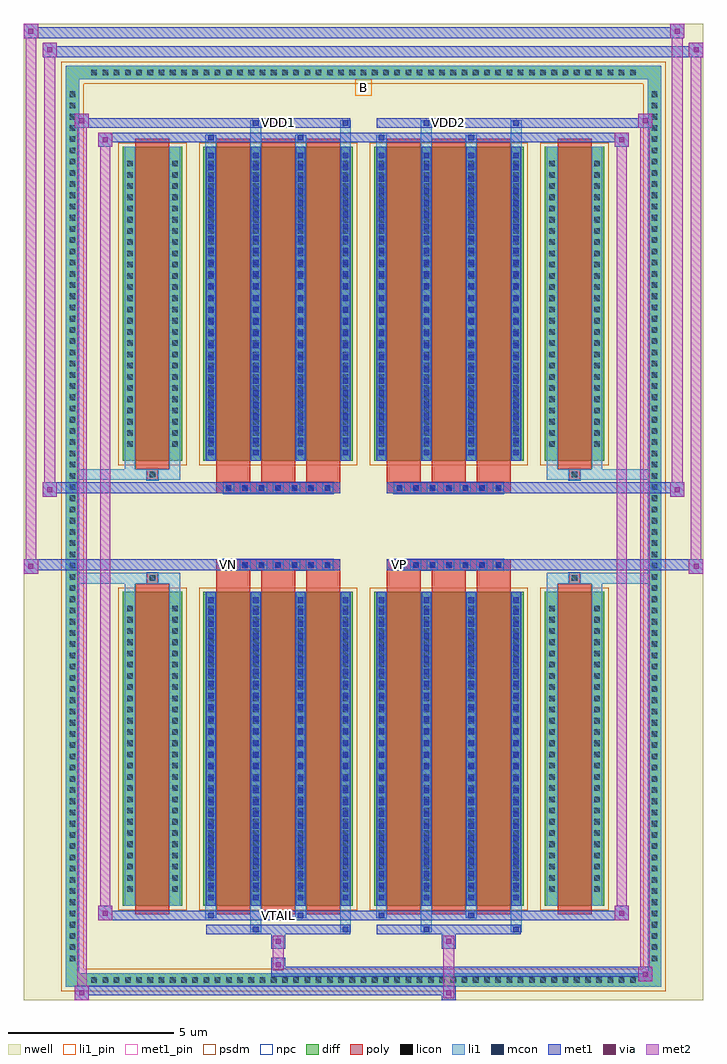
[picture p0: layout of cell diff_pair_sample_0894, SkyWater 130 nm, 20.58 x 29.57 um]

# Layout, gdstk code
import gdstk
lib = gdstk.Library(unit=1e-6, precision=5e-09)
def R(c, l, rs):  # rectangles x0, y0, x1, y1
    for r in rs: c.add(gdstk.rectangle(r[:2], r[2:], *l))
def A(c, l, x, y, w, h, nx, ny, dx, dy):  # array of equal rectangles
    R(c, l, [(x+i*dx, y+j*dy, x+i*dx+w, y+j*dy+h) for i in range(nx) for j in range(ny)])
def P(c, l, *ps):  # polygons
    for p in ps: c.add(gdstk.Polygon(p, *l))
nwell = (64, 20)
diff = (65, 20)
poly = (66, 20)
licon = (66, 44)
li1_pin = (67, 16)
li1 = (67, 20)
mcon = (67, 44)
met1_pin = (68, 16)
met1 = (68, 20)
via = (68, 44)
met2 = (69, 20)
psdm = (94, 20)
npc = (95, 20)

diff_pair_sample_0894 = lib.new_cell('diff_pair_sample_0894')
R(diff_pair_sample_0894, nwell, [(-10.29,-14.35,10.29,15.22), (-7.61,-12.54,-0.01,-0.8), (0.01,-12.54,7.61,-0.8), (-7.61,0.8,-0.01,12.54), (0.01,0.8,7.61,12.54)])
A(diff_pair_sample_0894, diff, -8.365, -13.95, 0.41, 0.41, 49, 2, 0.34, 27.49)
A(diff_pair_sample_0894, diff, -9.02, -13.295, 0.41, 0.41, 1, 78, 0, 0.34)
A(diff_pair_sample_0894, diff, 8.61, -13.295, 0.41, 0.41, 1, 78, 0, 0.34)
R(diff_pair_sample_0894, diff, [(-8.365,-13.95,8.365,-13.54), (-9.02,-13.295,-8.61,13.295), (8.61,-13.295,9.02,13.295), (-7.3,-11.495,-5.49,-1.985), (-4.85,-11.495,-0.32,-1.985), (0.32,-11.495,4.85,-1.985), (5.49,-11.495,7.3,-1.985), (-7.3,1.985,-5.49,11.495), (-4.85,1.985,-0.32,11.495), (0.32,1.985,4.85,11.495), (5.49,1.985,7.3,11.495), (-8.365,13.54,8.365,13.95)])
P(diff_pair_sample_0894, diff, [(9.02,13.95),(-9.02,13.95),(-9.02,-13.54),(-8.61,-13.54),(-8.61,13.54),(8.61,13.54),(8.61,-13.54),(-8.61,-13.54),(-9.02,-13.54),(-9.02,-13.95),(9.02,-13.95)])
A(diff_pair_sample_0894, poly, -4.46, -11.745, 1.03, 10.01, 3, 2, 1.36, 13.48)
A(diff_pair_sample_0894, poly, 0.71, -11.745, 1.03, 10.01, 3, 2, 1.36, 13.48)
A(diff_pair_sample_0894, poly, -4.46, -1.735, 1.03, 0.405, 3, 2, 1.36, 3.065)
A(diff_pair_sample_0894, poly, 0.71, -1.735, 1.03, 0.405, 3, 2, 1.36, 3.065)
A(diff_pair_sample_0894, poly, -4.25, -1.33, 0.33, 0.33, 7, 2, 0.5, 2.33)
A(diff_pair_sample_0894, poly, 0.92, -1.33, 0.33, 0.33, 7, 2, 0.5, 2.33)
R(diff_pair_sample_0894, poly, [(-6.91,-11.745,-5.88,-1.735), (5.88,-11.745,6.91,-1.735), (-6.56,-1.735,-6.23,-1.405), (-6.56,-1.735,-6.23,-1.405), (6.23,-1.735,6.56,-1.405), (6.23,-1.735,6.56,-1.405), (-4.46,-1.33,-0.71,-1), (0.71,-1.33,4.46,-1), (-4.46,1,-0.71,1.33), (0.71,1,4.46,1.33), (-6.56,1.405,-6.23,1.735), (-6.56,1.405,-6.23,1.735), (6.23,1.405,6.56,1.735), (6.23,1.405,6.56,1.735), (-6.91,1.735,-5.88,11.745), (5.88,1.735,6.91,11.745)])
A(diff_pair_sample_0894, licon, -8.245, -13.83, 0.17, 0.17, 49, 2, 0.34, 27.49)
A(diff_pair_sample_0894, licon, -8.9, -13.175, 0.17, 0.17, 1, 78, 0, 0.34)
A(diff_pair_sample_0894, licon, 8.73, -13.175, 0.17, 0.17, 1, 78, 0, 0.34)
A(diff_pair_sample_0894, licon, -7.16, -11.075, 0.17, 0.17, 1, 26, 0, 0.34)
A(diff_pair_sample_0894, licon, -5.8, -11.075, 0.17, 0.17, 1, 26, 0, 0.34)
A(diff_pair_sample_0894, licon, -4.71, -11.075, 0.17, 0.17, 4, 26, 1.36, 0.34)
A(diff_pair_sample_0894, licon, 0.46, -11.075, 0.17, 0.17, 4, 26, 1.36, 0.34)
A(diff_pair_sample_0894, licon, 5.63, -11.075, 0.17, 0.17, 1, 26, 0, 0.34)
A(diff_pair_sample_0894, licon, 6.99, -11.075, 0.17, 0.17, 1, 26, 0, 0.34)
A(diff_pair_sample_0894, licon, -4.17, -1.25, 0.17, 0.17, 7, 2, 0.5, 2.33)
A(diff_pair_sample_0894, licon, 1, -1.25, 0.17, 0.17, 7, 2, 0.5, 2.33)
A(diff_pair_sample_0894, licon, -7.16, 2.405, 0.17, 0.17, 1, 26, 0, 0.34)
A(diff_pair_sample_0894, licon, -5.8, 2.405, 0.17, 0.17, 1, 26, 0, 0.34)
A(diff_pair_sample_0894, licon, -4.71, 2.405, 0.17, 0.17, 4, 26, 1.36, 0.34)
A(diff_pair_sample_0894, licon, 0.46, 2.405, 0.17, 0.17, 4, 26, 1.36, 0.34)
A(diff_pair_sample_0894, licon, 5.63, 2.405, 0.17, 0.17, 1, 26, 0, 0.34)
A(diff_pair_sample_0894, licon, 6.99, 2.405, 0.17, 0.17, 1, 26, 0, 0.34)
R(diff_pair_sample_0894, licon, [(-6.48,-1.655,-6.31,-1.485), (6.31,-1.655,6.48,-1.485), (-6.48,1.485,-6.31,1.655), (6.31,1.485,6.48,1.655)])
R(diff_pair_sample_0894, li1_pin, [(-0.25,13.04,0.25,13.54)])
A(diff_pair_sample_0894, li1, -8.325, -13.91, 0.33, 0.33, 49, 2, 0.34, 27.49)
A(diff_pair_sample_0894, li1, -8.98, -13.255, 0.33, 0.33, 1, 78, 0, 0.34)
A(diff_pair_sample_0894, li1, 8.65, -13.255, 0.33, 0.33, 1, 78, 0, 0.34)
A(diff_pair_sample_0894, li1, -4.79, -11.495, 0.33, 9.51, 4, 2, 1.36, 13.48)
A(diff_pair_sample_0894, li1, 0.38, -11.495, 0.33, 9.51, 4, 2, 1.36, 13.48)
A(diff_pair_sample_0894, li1, -4.71, -11.325, 0.17, 0.17, 4, 26, 1.36, 0.36)
A(diff_pair_sample_0894, li1, -4.71, -11.325, 0.17, 9.17, 4, 2, 1.36, 13.48)
A(diff_pair_sample_0894, li1, 0.46, -11.325, 0.17, 0.17, 4, 26, 1.36, 0.36)
A(diff_pair_sample_0894, li1, 0.46, -11.325, 0.17, 9.17, 4, 2, 1.36, 13.48)
A(diff_pair_sample_0894, li1, -7.24, -11.155, 0.33, 0.33, 1, 26, 0, 0.34)
A(diff_pair_sample_0894, li1, -5.88, -11.155, 0.33, 0.33, 1, 26, 0, 0.34)
A(diff_pair_sample_0894, li1, -4.79, -11.155, 0.33, 0.33, 4, 26, 1.36, 0.34)
A(diff_pair_sample_0894, li1, 0.38, -11.155, 0.33, 0.33, 4, 26, 1.36, 0.34)
A(diff_pair_sample_0894, li1, 5.55, -11.155, 0.33, 0.33, 1, 26, 0, 0.34)
A(diff_pair_sample_0894, li1, 6.91, -11.155, 0.33, 0.33, 1, 26, 0, 0.34)
A(diff_pair_sample_0894, li1, -4.25, -1.33, 0.33, 0.33, 7, 2, 0.5, 2.33)
A(diff_pair_sample_0894, li1, 0.92, -1.33, 0.33, 0.33, 7, 2, 0.5, 2.33)
A(diff_pair_sample_0894, li1, -4.71, 2.155, 0.17, 0.17, 4, 26, 1.36, 0.36)
A(diff_pair_sample_0894, li1, 0.46, 2.155, 0.17, 0.17, 4, 26, 1.36, 0.36)
A(diff_pair_sample_0894, li1, -7.24, 2.325, 0.33, 0.33, 1, 26, 0, 0.34)
A(diff_pair_sample_0894, li1, -5.88, 2.325, 0.33, 0.33, 1, 26, 0, 0.34)
A(diff_pair_sample_0894, li1, -4.79, 2.325, 0.33, 0.33, 4, 26, 1.36, 0.34)
A(diff_pair_sample_0894, li1, 0.38, 2.325, 0.33, 0.33, 4, 26, 1.36, 0.34)
A(diff_pair_sample_0894, li1, 5.55, 2.325, 0.33, 0.33, 1, 26, 0, 0.34)
A(diff_pair_sample_0894, li1, 6.91, 2.325, 0.33, 0.33, 1, 26, 0, 0.34)
R(diff_pair_sample_0894, li1, [(-9.02,-13.95,-8.61,-13.54), (-9.02,-13.95,-8.61,-13.54), (-8.61,-13.95,8.61,-13.54), (8.61,-13.95,9.02,-13.54), (8.61,-13.95,9.02,-13.54), (-9.02,-13.54,-8.61,13.54), (8.61,-13.54,9.02,13.54), (-3.43,-12.3,-3.1,-11.495), (-3.35,-12.3,-3.18,-12.13), (-0.71,-12.3,-0.38,-11.495), (-0.63,-12.3,-0.46,-12.13), (1.74,-12.3,2.07,-11.495), (1.82,-12.3,1.99,-12.13), (4.46,-12.3,4.79,-11.495), (4.54,-12.3,4.71,-12.13), (-4.79,-11.87,-4.46,-11.495), (-4.71,-11.87,-4.54,-11.7), (-2.07,-11.87,-1.74,-11.495), (-1.99,-11.87,-1.82,-11.7), (0.38,-11.87,0.71,-11.495), (0.46,-11.87,0.63,-11.7), (3.1,-11.87,3.43,-11.495), (3.18,-11.87,3.35,-11.7), (-7.24,-11.495,-6.91,-1.985), (-5.88,-11.495,-5.55,-1.985), (5.55,-11.495,5.88,-1.985), (6.91,-11.495,7.24,-1.985), (-7.24,-1.985,-6.91,-1.405), (-5.88,-1.985,-5.55,-1.405), (5.55,-1.985,5.88,-1.405), (6.91,-1.985,7.24,-1.405), (-9.02,-1.735,-6.56,-1.405), (-7.24,-1.735,-6.56,-1.405), (-6.56,-1.735,-6.23,-1.405), (-6.23,-1.735,-5.55,-1.405), (5.55,-1.735,6.23,-1.405), (6.23,-1.735,6.56,-1.405), (6.23,-1.735,9.02,-1.405), (6.56,-1.735,7.24,-1.405), (-9.02,1.405,-6.56,1.735), (-7.24,1.405,-6.56,1.735), (-7.24,1.405,-6.91,1.985), (-6.56,1.405,-6.23,1.735), (-6.23,1.405,-5.55,1.735), (-5.88,1.405,-5.55,1.985), (5.55,1.405,6.23,1.735), (5.55,1.405,5.88,1.985), (6.23,1.405,6.56,1.735), (6.23,1.405,9.02,1.735), (6.56,1.405,7.24,1.735), (6.91,1.405,7.24,1.985), (-7.24,1.985,-6.91,11.495), (-5.88,1.985,-5.55,11.495), (5.55,1.985,5.88,11.495), (6.91,1.985,7.24,11.495), (-4.79,11.495,-4.46,11.87), (-3.43,11.495,-3.1,12.3), (-2.07,11.495,-1.74,11.87), (-0.71,11.495,-0.38,12.3), (0.38,11.495,0.71,11.87), (1.74,11.495,2.07,12.3), (3.1,11.495,3.43,11.87), (4.46,11.495,4.79,12.3), (-4.71,11.7,-4.54,11.87), (-1.99,11.7,-1.82,11.87), (0.46,11.7,0.63,11.87), (3.18,11.7,3.35,11.87), (-3.35,12.13,-3.18,12.3), (-0.63,12.13,-0.46,12.3), (1.82,12.13,1.99,12.3), (4.54,12.13,4.71,12.3), (-9.02,13.54,-8.61,13.95), (-9.02,13.54,-8.61,13.95), (-8.61,13.54,8.61,13.95), (8.61,13.54,9.02,13.95), (8.61,13.54,9.02,13.95)])
A(diff_pair_sample_0894, mcon, -4.71, -11.325, 0.17, 0.17, 4, 26, 1.36, 0.36)
A(diff_pair_sample_0894, mcon, 0.46, -11.325, 0.17, 0.17, 4, 26, 1.36, 0.36)
A(diff_pair_sample_0894, mcon, -4.17, -1.25, 0.17, 0.17, 7, 2, 0.5, 2.33)
A(diff_pair_sample_0894, mcon, 1, -1.25, 0.17, 0.17, 7, 2, 0.5, 2.33)
A(diff_pair_sample_0894, mcon, -4.71, 2.155, 0.17, 0.17, 4, 26, 1.36, 0.36)
A(diff_pair_sample_0894, mcon, 0.46, 2.155, 0.17, 0.17, 4, 26, 1.36, 0.36)
R(diff_pair_sample_0894, mcon, [(-3.35,-12.3,-3.18,-12.13), (-0.63,-12.3,-0.46,-12.13), (1.82,-12.3,1.99,-12.13), (4.54,-12.3,4.71,-12.13), (-4.71,-11.87,-4.54,-11.7), (-1.99,-11.87,-1.82,-11.7), (0.46,-11.87,0.63,-11.7), (3.18,-11.87,3.35,-11.7), (-4.71,11.7,-4.54,11.87), (-1.99,11.7,-1.82,11.87), (0.46,11.7,0.63,11.87), (3.18,11.7,3.35,11.87), (-3.35,12.13,-3.18,12.3), (-0.63,12.13,-0.46,12.3), (1.82,12.13,1.99,12.3), (4.54,12.13,4.71,12.3)])
R(diff_pair_sample_0894, met1_pin, [(-2.72,-11.91,-2.45,-11.64), (-4.22,-1.29,-3.95,-1.02), (0.95,-1.29,1.22,-1.02), (-2.72,12.09,-2.45,12.36), (2.45,12.09,2.72,12.36)])
A(diff_pair_sample_0894, met1, -4.77, -11.495, 0.29, 9.51, 4, 2, 1.36, 13.48)
A(diff_pair_sample_0894, met1, 0.4, -11.495, 0.29, 9.51, 4, 2, 1.36, 13.48)
A(diff_pair_sample_0894, met1, -4.77, -11.385, 0.29, 0.29, 4, 26, 1.36, 0.36)
A(diff_pair_sample_0894, met1, 0.4, -11.385, 0.29, 0.29, 4, 26, 1.36, 0.36)
A(diff_pair_sample_0894, met1, -4.23, -1.31, 0.29, 0.29, 7, 2, 0.5, 2.33)
A(diff_pair_sample_0894, met1, 0.94, -1.31, 0.29, 0.29, 7, 2, 0.5, 2.33)
A(diff_pair_sample_0894, met1, -4.77, 2.095, 0.29, 0.29, 4, 26, 1.36, 0.36)
A(diff_pair_sample_0894, met1, 0.4, 2.095, 0.29, 0.29, 4, 26, 1.36, 0.36)
R(diff_pair_sample_0894, met1, [(-8.75,-14.35,-8.32,-13.92), (2.37,-14.35,2.8,-13.92), (-8.75,-14.21,2.8,-13.92), (8.32,-13.78,8.75,-13.35), (-2.8,-13.64,8.75,-13.35), (-2.8,-13.5,-2.37,-13.07), (-2.8,-12.79,-2.37,-12.36), (2.37,-12.79,2.8,-12.36), (-4.77,-12.36,-0.4,-12.07), (-3.41,-12.36,-3.12,-12.07), (-0.69,-12.36,-0.4,-12.07), (0.4,-12.36,4.77,-12.07), (1.76,-12.36,2.05,-12.07), (4.48,-12.36,4.77,-12.07), (-8.04,-11.93,-7.61,-11.5), (-8.04,-11.93,-4.77,-11.64), (-4.77,-11.93,-4.48,-11.64), (-4.77,-11.93,-0.4,-11.64), (-2.05,-11.93,-1.76,-11.64), (-0.4,-11.93,0.4,-11.64), (0.4,-11.93,0.69,-11.64), (0.4,-11.93,4.77,-11.64), (3.12,-11.93,3.41,-11.64), (4.77,-11.93,8.04,-11.64), (7.61,-11.93,8.04,-11.5), (-10.29,-1.43,-9.86,-1), (9.86,-1.43,10.29,-1), (-10.29,-1.33,-0.71,-1), (-4.46,-1.33,-0.71,-1), (0.71,-1.33,4.46,-1), (0.71,-1.33,10.29,-1), (-9.72,0.9,-9.29,1.33), (9.29,0.9,9.72,1.33), (-9.72,1,-4.46,1.33), (-4.46,1,-0.71,1.33), (0.71,1,4.46,1.33), (4.46,1,9.72,1.33), (-8.04,11.5,-7.61,11.93), (7.61,11.5,8.04,11.93), (-8.04,11.64,-4.77,11.93), (-4.77,11.64,-4.48,11.93), (-4.77,11.64,-0.4,11.93), (-2.05,11.64,-1.76,11.93), (-0.4,11.64,0.4,11.93), (0.4,11.64,0.69,11.93), (0.4,11.64,4.77,11.93), (3.12,11.64,3.41,11.93), (4.77,11.64,8.04,11.93), (-8.75,12.07,-8.32,12.5), (-8.75,12.07,-4.77,12.36), (-4.77,12.07,-0.4,12.36), (-3.41,12.07,-3.12,12.36), (-0.69,12.07,-0.4,12.36), (0.4,12.07,4.77,12.36), (1.76,12.07,2.05,12.36), (4.48,12.07,4.77,12.36), (4.77,12.07,8.75,12.36), (8.32,12.07,8.75,12.5), (-9.72,14.22,-9.29,14.65), (-9.72,14.22,-7.61,14.55), (-7.61,14.22,7.61,14.55), (7.61,14.22,10.29,14.55), (9.86,14.22,10.29,14.65), (-10.29,14.79,-9.86,15.22), (-10.29,14.79,-7.61,15.12), (-7.61,14.79,7.61,15.12), (7.61,14.79,9.72,15.12), (9.29,14.79,9.72,15.22)])
R(diff_pair_sample_0894, via, [(-8.61,-14.21,-8.46,-14.06), (2.51,-14.21,2.66,-14.06), (8.46,-13.64,8.61,-13.49), (-2.66,-13.36,-2.51,-13.21), (-2.66,-12.65,-2.51,-12.5), (2.51,-12.65,2.66,-12.5), (-7.9,-11.79,-7.75,-11.64), (7.75,-11.79,7.9,-11.64), (-10.15,-1.29,-10,-1.14), (10,-1.29,10.15,-1.14), (-9.58,1.04,-9.43,1.19), (9.43,1.04,9.58,1.19), (-7.9,11.64,-7.75,11.79), (7.75,11.64,7.9,11.79), (-8.61,12.21,-8.46,12.36), (8.46,12.21,8.61,12.36), (-9.58,14.36,-9.43,14.51), (10,14.36,10.15,14.51), (-10.15,14.93,-10,15.08), (9.43,14.93,9.58,15.08)])
R(diff_pair_sample_0894, met2, [(-8.75,-14.35,-8.32,-13.92), (-8.68,-14.35,-8.39,12.5), (-8.39,-14.35,-8.32,-13.92), (-8.7,-14.3,-8.37,-13.97), (2.42,-14.3,2.75,-13.97), (2.42,-13.97,2.75,-12.74), (8.32,-13.78,8.75,-13.35), (8.39,-13.78,8.68,12.5), (8.68,-13.78,8.75,-13.35), (8.37,-13.73,8.7,-13.4), (-2.75,-13.45,-2.42,-13.12), (-2.75,-13.12,-2.42,-12.74), (-2.75,-12.74,-2.42,-12.41), (2.42,-12.74,2.75,-12.41), (-8.04,-11.93,-7.61,-11.5), (-7.97,-11.93,-7.68,11.93), (-7.68,-11.93,-7.61,-11.5), (7.61,-11.93,8.04,-11.5), (7.68,-11.93,7.97,11.93), (7.97,-11.93,8.04,-11.5), (-7.99,-11.88,-7.66,-11.55), (7.66,-11.88,7.99,-11.55), (-10.29,-1.43,-9.86,-1), (-10.24,-1.43,-9.91,15.22), (-9.91,-1.43,-9.86,-1), (9.86,-1.43,10.29,-1), (9.91,-1.43,10.24,14.65), (10.24,-1.43,10.29,-1), (-10.24,-1.38,-9.91,-1.05), (9.91,-1.38,10.24,-1.05), (-9.72,0.9,-9.29,1.33), (-9.67,0.9,-9.34,14.65), (-9.34,0.9,-9.29,1.33), (9.29,0.9,9.72,1.33), (9.34,0.9,9.67,15.22), (9.67,0.9,9.72,1.33), (-9.67,0.95,-9.34,1.28), (9.34,0.95,9.67,1.28), (-8.04,11.5,-7.61,11.93), (-7.68,11.5,-7.61,11.93), (7.61,11.5,8.04,11.93), (7.97,11.5,8.04,11.93), (-7.99,11.55,-7.66,11.88), (7.66,11.55,7.99,11.88), (-8.75,12.07,-8.32,12.5), (-8.39,12.07,-8.32,12.5), (8.32,12.07,8.75,12.5), (8.68,12.07,8.75,12.5), (-8.7,12.12,-8.37,12.45), (8.37,12.12,8.7,12.45), (-9.72,14.22,-9.29,14.65), (-9.34,14.22,-9.29,14.65), (9.86,14.22,10.29,14.65), (10.24,14.22,10.29,14.65), (-9.67,14.27,-9.34,14.6), (9.91,14.27,10.24,14.6), (-10.29,14.79,-9.86,15.22), (-9.91,14.79,-9.86,15.22), (9.29,14.79,9.72,15.22), (9.67,14.79,9.72,15.22), (-10.24,14.84,-9.91,15.17), (9.34,14.84,9.67,15.17)])
R(diff_pair_sample_0894, psdm, [(-7.43,-11.625,-5.36,-1.855), (-4.98,-11.625,-0.19,-1.855), (0.19,-11.625,4.98,-1.855), (5.36,-11.625,7.43,-1.855), (-7.43,1.855,-5.36,11.625), (-4.98,1.855,-0.19,11.625), (0.19,1.855,4.98,11.625), (5.36,1.855,7.43,11.625)])
P(diff_pair_sample_0894, psdm, [(9.15,14.08),(-9.15,14.08),(-9.15,-13.41),(-8.48,-13.41),(-8.48,13.41),(8.48,13.41),(8.48,-13.41),(-8.48,-13.41),(-9.15,-13.41),(-9.15,-14.08),(9.15,-14.08)])
A(diff_pair_sample_0894, npc, -4.27, -1.35, 0.37, 0.37, 7, 2, 0.5, 2.33)
A(diff_pair_sample_0894, npc, 0.9, -1.35, 0.37, 0.37, 7, 2, 0.5, 2.33)
R(diff_pair_sample_0894, npc, [(-6.58,-1.755,-6.21,-1.385), (6.21,-1.755,6.58,-1.385), (-4.27,-1.35,-3.4,-0.98), (-4.27,-1.35,-3.4,-0.98), (-3.77,-1.35,-2.9,-0.98), (-3.77,-1.35,-2.9,-0.98), (-3.27,-1.35,-2.4,-0.98), (-3.27,-1.35,-2.4,-0.98), (-2.77,-1.35,-1.9,-0.98), (-2.77,-1.35,-1.9,-0.98), (-2.27,-1.35,-1.4,-0.98), (-2.27,-1.35,-1.4,-0.98), (-1.77,-1.35,-0.9,-0.98), (-1.77,-1.35,-0.9,-0.98), (0.9,-1.35,1.77,-0.98), (0.9,-1.35,1.77,-0.98), (1.4,-1.35,2.27,-0.98), (1.4,-1.35,2.27,-0.98), (1.9,-1.35,2.77,-0.98), (1.9,-1.35,2.77,-0.98), (2.4,-1.35,3.27,-0.98), (2.4,-1.35,3.27,-0.98), (2.9,-1.35,3.77,-0.98), (2.9,-1.35,3.77,-0.98), (3.4,-1.35,4.27,-0.98), (3.4,-1.35,4.27,-0.98), (-4.27,0.98,-3.4,1.35), (-4.27,0.98,-3.4,1.35), (-3.77,0.98,-2.9,1.35), (-3.77,0.98,-2.9,1.35), (-3.27,0.98,-2.4,1.35), (-3.27,0.98,-2.4,1.35), (-2.77,0.98,-1.9,1.35), (-2.77,0.98,-1.9,1.35), (-2.27,0.98,-1.4,1.35), (-2.27,0.98,-1.4,1.35), (-1.77,0.98,-0.9,1.35), (-1.77,0.98,-0.9,1.35), (0.9,0.98,1.77,1.35), (0.9,0.98,1.77,1.35), (1.4,0.98,2.27,1.35), (1.4,0.98,2.27,1.35), (1.9,0.98,2.77,1.35), (1.9,0.98,2.77,1.35), (2.4,0.98,3.27,1.35), (2.4,0.98,3.27,1.35), (2.9,0.98,3.77,1.35), (2.9,0.98,3.77,1.35), (3.4,0.98,4.27,1.35), (3.4,0.98,4.27,1.35), (-6.58,1.385,-6.21,1.755), (6.21,1.385,6.58,1.755)])
diff_pair_sample_0894.add(gdstk.Label('VTAIL', (-2.585,-11.775), layer=68, texttype=5))
diff_pair_sample_0894.add(gdstk.Label('VN', (-4.085,-1.155), layer=68, texttype=5))
diff_pair_sample_0894.add(gdstk.Label('VP', (1.085,-1.155), layer=68, texttype=5))
diff_pair_sample_0894.add(gdstk.Label('B', (0,13.29), layer=67, texttype=5))
diff_pair_sample_0894.add(gdstk.Label('VDD2', (2.585,12.225), layer=68, texttype=5))
diff_pair_sample_0894.add(gdstk.Label('VDD1', (-2.585,12.225), layer=68, texttype=5))

lib.write_gds('diff_pair_sample_0894.gds')
